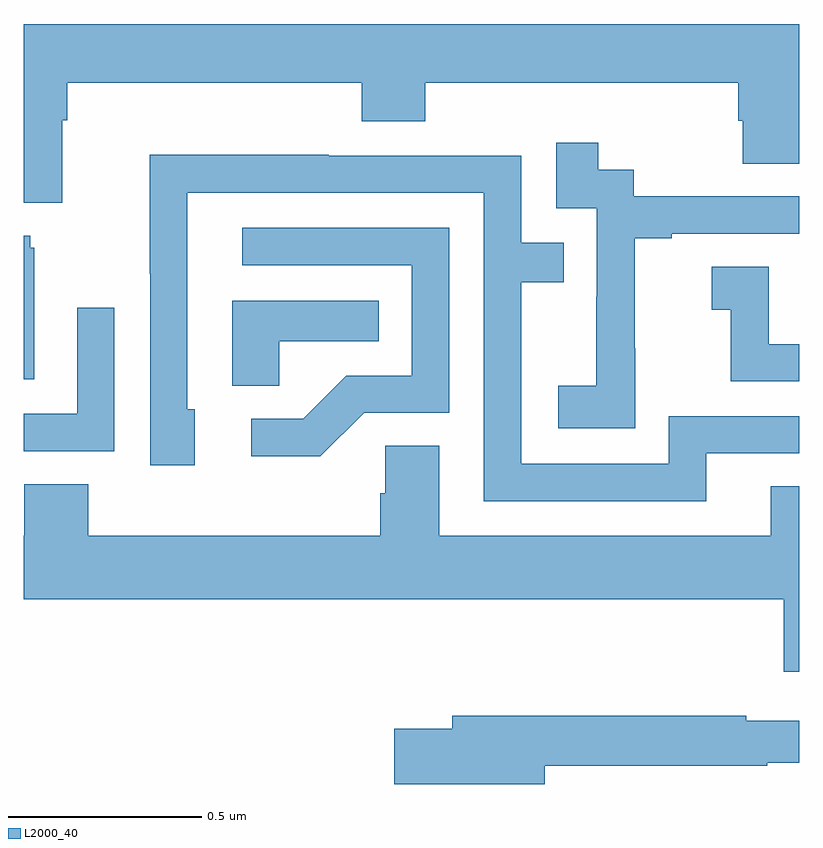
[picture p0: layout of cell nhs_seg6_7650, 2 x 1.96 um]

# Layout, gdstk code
import gdstk
lib = gdstk.Library(unit=1e-6, precision=1e-09)
def P(c, l, *ps):  # polygons
    for p in ps: c.add(gdstk.Polygon(p, *l))
L2000_40 = (2000, 40)

nhs_seg6_7650 = lib.new_cell('nhs_seg6_7650')
P(nhs_seg6_7650, L2000_40, [(211.099,935.252),(211.112,935.252),(211.112,935.348),(211.871,935.348),(211.871,935.249),(212.036,935.249),(212.036,935.348),(212.843,935.348),(212.843,935.25),(212.855,935.25),(212.855,935.14),(213,935.14),(213,935.5),(211,935.5),(211,935.039),(211.099,935.039)],
  [(212.577,934.663),(212.576,934.663),(212.576,934.947),(212.671,934.947),(212.671,934.959),(213,934.959),(213,935.055),(212.574,935.055),(212.574,935.124),(212.482,935.124),(212.482,935.194),(212.373,935.194),(212.373,935.025),(212.478,935.025),(212.478,934.796),(212.477,934.796),(212.477,934.567),(212.379,934.567),(212.379,934.457),(212.577,934.457)],
  [(212.761,934.392),(213,934.392),(213,934.488),(212.664,934.488),(212.664,934.365),(212.283,934.365),(212.283,934.834),(212.393,934.834),(212.393,934.935),(212.283,934.935),(212.283,935.16),(211.787,935.16),(211.787,935.162),(211.324,935.162),(211.324,934.855),(211.326,934.855),(211.326,934.362),(211.441,934.362),(211.441,934.506),(211.422,934.506),(211.422,935.064),(212.187,935.064),(212.187,934.269),(212.761,934.269)],
  [(211.878,934.497),(212.097,934.497),(212.097,934.974),(211.563,934.974),(211.563,934.878),(212.001,934.878),(212.001,934.593),(211.832,934.593),(211.721,934.482),(211.587,934.482),(211.587,934.385),(211.765,934.385)],
  [(211.027,934.923),(211.016,934.923),(211.016,934.954),(211,934.954),(211,934.583),(211.027,934.583)],
  [(213,934.674),(212.922,934.674),(212.922,934.873),(212.775,934.873),(212.775,934.763),(212.824,934.763),(212.824,934.578),(213,934.578)],
  [(211.659,934.682),(211.916,934.682),(211.916,934.786),(211.538,934.786),(211.538,934.567),(211.659,934.567)],
  [(211.233,934.768),(211.137,934.768),(211.137,934.494),(211,934.494),(211,934.398),(211.233,934.398)],
  [(213,934.307),(212.927,934.307),(212.927,934.18),(212.071,934.18),(212.071,934.412),(211.932,934.412),(211.932,934.289),(211.919,934.289),(211.919,934.18),(211.166,934.18),(211.166,934.313),(211.001,934.313),(211.001,934.18),(211,934.18),(211,934.016),(212.96,934.016),(212.96,933.828),(213,933.828)],
  [(212.344,933.586),(212.918,933.586),(212.918,933.594),(213,933.594),(213,933.702),(212.864,933.702),(212.864,933.715),(212.105,933.715),(212.105,933.681),(211.956,933.681),(211.956,933.539),(212.344,933.539)])

lib.write_gds('nhs_seg6_7650.gds')
